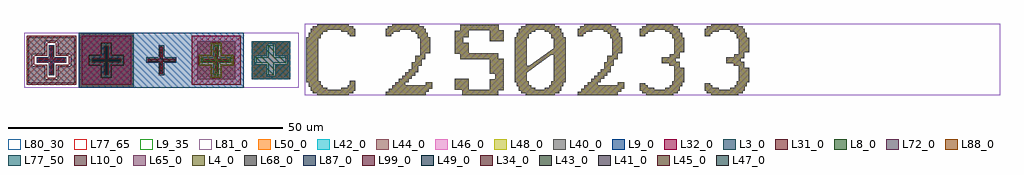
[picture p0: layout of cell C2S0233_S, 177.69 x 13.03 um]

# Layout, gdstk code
import gdstk
lib = gdstk.Library(unit=1e-6, precision=1e-09)
def R(c, l, rs):  # rectangles x0, y0, x1, y1
    for r in rs: c.add(gdstk.rectangle(r[:2], r[2:], *l))
def P(c, l, *ps):  # polygons
    for p in ps: c.add(gdstk.Polygon(p, *l))
L3_0 = (3, 0)
L4_0 = (4, 0)
L8_0 = (8, 0)
L9_0 = (9, 0)
L9_35 = (9, 35)
L10_0 = (10, 0)
L31_0 = (31, 0)
L32_0 = (32, 0)
L34_0 = (34, 0)
L40_0 = (40, 0)
L41_0 = (41, 0)
L42_0 = (42, 0)
L43_0 = (43, 0)
L44_0 = (44, 0)
L45_0 = (45, 0)
L46_0 = (46, 0)
L47_0 = (47, 0)
L48_0 = (48, 0)
L49_0 = (49, 0)
L50_0 = (50, 0)
L65_0 = (65, 0)
L68_0 = (68, 0)
L72_0 = (72, 0)
L77_50 = (77, 50)
L77_65 = (77, 65)
L80_30 = (80, 30)
L81_0 = (81, 0)
L87_0 = (87, 0)
L88_0 = (88, 0)
L99_0 = (99, 0)

pci_cross_e_pm_a1_1 = lib.new_cell('PCI_cross_E_PM_a1$1')
P(pci_cross_e_pm_a1_1, L3_0, [(-1.315,8.921),(-1.315,11.121),(-3.515,11.121),(-3.515,12.121),(-1.315,12.121),(-1.315,14.321),(-0.315,14.321),(-0.315,12.121),(1.885,12.121),(1.885,11.121),(-0.315,11.121),(-0.315,8.921)])
R(pci_cross_e_pm_a1_1, L8_0, [(-4.315,8.121,2.685,15.121)])
P(pci_cross_e_pm_a1_1, L9_0, [(-4.315,8.121),(-4.315,15.121),(2.085,15.121),(2.085,12.326),(-0.115,12.326),(-0.115,14.521),(-1.515,14.521),(-1.515,12.326),(-3.715,12.326),(-3.715,10.926),(-1.515,10.926),(-1.515,8.716),(-0.115,8.716),(-0.115,10.926),(2.085,10.926),(2.085,15.121),(2.685,15.121),(2.685,8.121)])
P(pci_cross_e_pm_a1_1, L32_0, [(-4.315,8.121),(-4.315,15.121),(2.085,15.121),(2.085,12.326),(-0.115,12.326),(-0.115,14.521),(-1.515,14.521),(-1.515,12.326),(-3.715,12.326),(-3.715,10.926),(-1.515,10.926),(-1.515,8.716),(-0.115,8.716),(-0.115,10.926),(2.085,10.926),(2.085,15.121),(2.685,15.121),(2.685,8.121)])
P(pci_cross_e_pm_a1_1, L72_0, [(-4.315,8.121),(-4.315,15.121),(2.085,15.121),(2.085,12.326),(-0.115,12.326),(-0.115,14.521),(-1.515,14.521),(-1.515,12.326),(-3.715,12.326),(-3.715,10.926),(-1.515,10.926),(-1.515,8.716),(-0.115,8.716),(-0.115,10.926),(2.085,10.926),(2.085,15.121),(2.685,15.121),(2.685,8.121)])
P(pci_cross_e_pm_a1_1, L77_50, [(-4.315,8.121),(-4.315,15.121),(2.085,15.121),(2.085,12.326),(-0.115,12.326),(-0.115,14.521),(-1.515,14.521),(-1.515,12.326),(-3.715,12.326),(-3.715,10.926),(-1.515,10.926),(-1.515,8.716),(-0.115,8.716),(-0.115,10.926),(2.085,10.926),(2.085,15.121),(2.685,15.121),(2.685,8.121)])
P(pci_cross_e_pm_a1_1, L88_0, [(-4.315,8.121),(-4.315,15.121),(2.085,15.121),(2.085,12.326),(-0.115,12.326),(-0.115,14.521),(-1.515,14.521),(-1.515,12.326),(-3.715,12.326),(-3.715,10.926),(-1.515,10.926),(-1.515,8.716),(-0.115,8.716),(-0.115,10.926),(2.085,10.926),(2.085,15.121),(2.685,15.121),(2.685,8.121)])

pci_cross_d_pm_a1_1 = lib.new_cell('PCI_cross_D_PM_a1$1')
P(pci_cross_d_pm_a1_1, L3_0, [(-1.315,8.921),(-1.315,11.121),(-3.515,11.121),(-3.515,12.121),(-1.315,12.121),(-1.315,14.321),(-0.315,14.321),(-0.315,12.121),(1.885,12.121),(1.885,11.121),(-0.315,11.121),(-0.315,8.921)])
P(pci_cross_d_pm_a1_1, L4_0, [(-1.815,8.421),(-1.815,10.621),(-4.015,10.621),(-4.015,12.621),(-1.815,12.621),(-1.815,14.821),(0.185,14.821),(0.185,12.621),(2.385,12.621),(2.385,10.621),(0.185,10.621),(0.185,8.421)])
P(pci_cross_d_pm_a1_1, L8_0, [(-1.165,8.421),(-1.165,9.121),(-0.915,9.121),(-0.915,11.521),(-3.315,11.521),(-3.315,11.271),(-4.015,11.271),(-4.015,11.971),(-3.315,11.971),(-3.315,11.721),(-0.915,11.721),(-0.915,14.121),(-1.165,14.121),(-1.165,14.821),(-0.465,14.821),(-0.465,14.121),(-0.715,14.121),(-0.715,11.721),(1.685,11.721),(1.685,11.971),(2.385,11.971),(2.385,11.271),(1.685,11.271),(1.685,11.521),(-0.715,11.521),(-0.715,9.121),(-0.465,9.121),(-0.465,8.421)])
R(pci_cross_d_pm_a1_1, L9_0, [(-5.815,6.621,4.185,16.621)])
P(pci_cross_d_pm_a1_1, L10_0, [(-4.315,8.121),(-4.315,15.121),(2.085,15.121),(2.085,12.321),(-0.115,12.321),(-0.115,14.516),(-1.515,14.516),(-1.515,12.321),(-3.715,12.321),(-3.715,10.921),(-1.515,10.921),(-1.515,8.711),(-0.115,8.711),(-0.115,10.921),(2.085,10.921),(2.085,15.121),(2.685,15.121),(2.685,8.121)])
P(pci_cross_d_pm_a1_1, L31_0, [(-1.065,9.171),(-1.065,11.371),(-3.265,11.371),(-3.265,11.871),(-1.065,11.871),(-1.065,14.071),(-0.565,14.071),(-0.565,11.871),(1.635,11.871),(1.635,11.371),(-0.565,11.371),(-0.565,9.171)])
P(pci_cross_d_pm_a1_1, L32_0, [(-5.315,7.121),(-5.315,16.121),(2.36,16.121),(2.36,12.421),(-0.015,12.421),(-0.015,14.796),(-1.615,14.796),(-1.615,12.421),(-3.99,12.421),(-3.99,10.821),(-1.615,10.821),(-1.615,8.446),(-0.015,8.446),(-0.015,10.821),(2.36,10.821),(2.36,16.121),(3.685,16.121),(3.685,7.121)],
  [(-1.065,9.171),(-1.065,11.371),(-3.265,11.371),(-3.265,11.871),(-1.065,11.871),(-1.065,14.071),(-0.565,14.071),(-0.565,11.871),(1.635,11.871),(1.635,11.371),(-0.565,11.371),(-0.565,9.171)])
P(pci_cross_d_pm_a1_1, L65_0, [(-4.315,8.121),(-4.315,15.121),(2.085,15.121),(2.085,12.321),(-0.115,12.321),(-0.115,14.516),(-1.515,14.516),(-1.515,12.321),(-3.715,12.321),(-3.715,10.921),(-1.515,10.921),(-1.515,8.711),(-0.115,8.711),(-0.115,10.921),(2.085,10.921),(2.085,15.121),(2.685,15.121),(2.685,8.121)])

pci_cross_b_novf_a2_1 = lib.new_cell('PCI_cross_B_NOVF_a2$1')
R(pci_cross_b_novf_a2_1, L9_0, [(-0.815,11.621,9.185,21.621)])
P(pci_cross_b_novf_a2_1, L32_0, [(-0.315,12.121),(-0.315,21.121),(7.385,21.121),(7.385,17.421),(4.985,17.421),(4.985,19.821),(3.385,19.821),(3.385,17.421),(0.985,17.421),(0.985,15.821),(3.385,15.821),(3.385,13.421),(4.985,13.421),(4.985,15.821),(7.385,15.821),(7.385,21.121),(8.685,21.121),(8.685,12.121)],
  [(3.935,14.171),(3.935,16.371),(1.735,16.371),(1.735,16.871),(3.935,16.871),(3.935,19.071),(4.435,19.071),(4.435,16.871),(6.635,16.871),(6.635,16.371),(4.435,16.371),(4.435,14.171)])
P(pci_cross_b_novf_a2_1, L34_0, [(4.06,14.121),(4.06,16.496),(1.685,16.496),(1.685,16.746),(4.06,16.746),(4.06,19.121),(4.31,19.121),(4.31,16.746),(6.685,16.746),(6.685,16.496),(4.31,16.496),(4.31,14.121)])
R(pci_cross_b_novf_a2_1, L40_0, [(-0.815,11.621,9.185,21.621)])
P(pci_cross_b_novf_a2_1, L41_0, [(4.06,14.121),(4.06,16.496),(1.685,16.496),(1.685,16.746),(4.06,16.746),(4.06,19.121),(4.31,19.121),(4.31,16.746),(6.685,16.746),(6.685,16.496),(4.31,16.496),(4.31,14.121)])
R(pci_cross_b_novf_a2_1, L42_0, [(-0.815,11.621,9.185,21.621)])
P(pci_cross_b_novf_a2_1, L43_0, [(4.06,14.121),(4.06,16.496),(1.685,16.496),(1.685,16.746),(4.06,16.746),(4.06,19.121),(4.31,19.121),(4.31,16.746),(6.685,16.746),(6.685,16.496),(4.31,16.496),(4.31,14.121)])
R(pci_cross_b_novf_a2_1, L44_0, [(-0.815,11.621,9.185,21.621)])
P(pci_cross_b_novf_a2_1, L45_0, [(4.06,14.121),(4.06,16.496),(1.685,16.496),(1.685,16.746),(4.06,16.746),(4.06,19.121),(4.31,19.121),(4.31,16.746),(6.685,16.746),(6.685,16.496),(4.31,16.496),(4.31,14.121)])
R(pci_cross_b_novf_a2_1, L46_0, [(-0.815,11.621,9.185,21.621)])
P(pci_cross_b_novf_a2_1, L47_0, [(4.06,14.121),(4.06,16.496),(1.685,16.496),(1.685,16.746),(4.06,16.746),(4.06,19.121),(4.31,19.121),(4.31,16.746),(6.685,16.746),(6.685,16.496),(4.31,16.496),(4.31,14.121)])
R(pci_cross_b_novf_a2_1, L48_0, [(-0.815,11.621,9.185,21.621)])
P(pci_cross_b_novf_a2_1, L49_0, [(4.005,14.066),(4.005,16.441),(1.63,16.441),(1.63,16.801),(4.005,16.801),(4.005,19.176),(4.365,19.176),(4.365,16.801),(6.74,16.801),(6.74,16.441),(4.365,16.441),(4.365,14.066)])
R(pci_cross_b_novf_a2_1, L50_0, [(-0.815,11.621,9.185,21.621)])
P(pci_cross_b_novf_a2_1, L68_0, [(3.185,13.421),(3.185,15.621),(0.985,15.621),(0.985,17.621),(3.185,17.621),(3.185,19.821),(5.185,19.821),(5.185,17.621),(7.385,17.621),(7.385,15.621),(5.185,15.621),(5.185,13.421)])
P(pci_cross_b_novf_a2_1, L72_0, [(3.735,13.971),(3.735,16.171),(1.535,16.171),(1.535,17.071),(3.735,17.071),(3.735,19.271),(4.635,19.271),(4.635,17.071),(6.835,17.071),(6.835,16.171),(4.635,16.171),(4.635,13.971)])
P(pci_cross_b_novf_a2_1, L88_0, [(3.885,13.946),(3.885,16.321),(1.51,16.321),(1.51,16.921),(3.885,16.921),(3.885,19.296),(4.485,19.296),(4.485,16.921),(6.86,16.921),(6.86,16.321),(4.485,16.321),(4.485,13.946)])

pci_cross_a_nomf_a0_1 = lib.new_cell('PCI_cross_A_NOMF_a0$1')
P(pci_cross_a_nomf_a0_1, L3_0, [(-1.315,8.921),(-1.315,11.121),(-3.515,11.121),(-3.515,12.121),(-1.315,12.121),(-1.315,14.321),(-0.315,14.321),(-0.315,12.121),(1.885,12.121),(1.885,11.121),(-0.315,11.121),(-0.315,8.921)],
  [(-5.015,7.421),(-5.015,15.821),(2.66,15.821),(2.66,12.721),(0.285,12.721),(0.285,15.096),(-1.915,15.096),(-1.915,12.721),(-4.29,12.721),(-4.29,10.521),(-1.915,10.521),(-1.915,8.146),(0.285,8.146),(0.285,10.521),(2.66,10.521),(2.66,15.821),(3.385,15.821),(3.385,7.421)])
P(pci_cross_a_nomf_a0_1, L9_0, [(-0.94,9.296),(-0.94,11.496),(-3.14,11.496),(-3.14,11.746),(-0.94,11.746),(-0.94,13.946),(-0.69,13.946),(-0.69,11.746),(1.51,11.746),(1.51,11.496),(-0.69,11.496),(-0.69,9.296)])
P(pci_cross_a_nomf_a0_1, L31_0, [(-1.065,9.171),(-1.065,11.371),(-3.265,11.371),(-3.265,11.871),(-1.065,11.871),(-1.065,14.071),(-0.565,14.071),(-0.565,11.871),(1.635,11.871),(1.635,11.371),(-0.565,11.371),(-0.565,9.171)],
  [(-5.315,7.121),(-5.315,16.121),(2.36,16.121),(2.36,12.421),(-0.015,12.421),(-0.015,14.796),(-1.615,14.796),(-1.615,12.421),(-3.99,12.421),(-3.99,10.821),(-1.615,10.821),(-1.615,8.446),(-0.015,8.446),(-0.015,10.821),(2.36,10.821),(2.36,16.121),(3.685,16.121),(3.685,7.121)])
P(pci_cross_a_nomf_a0_1, L40_0, [(-0.94,9.296),(-0.94,11.496),(-3.14,11.496),(-3.14,11.746),(-0.94,11.746),(-0.94,13.946),(-0.69,13.946),(-0.69,11.746),(1.51,11.746),(1.51,11.496),(-0.69,11.496),(-0.69,9.296)])
P(pci_cross_a_nomf_a0_1, L42_0, [(-0.955,9.281),(-0.955,11.481),(-3.155,11.481),(-3.155,11.761),(-0.955,11.761),(-0.955,13.961),(-0.675,13.961),(-0.675,11.761),(1.525,11.761),(1.525,11.481),(-0.675,11.481),(-0.675,9.281)])
P(pci_cross_a_nomf_a0_1, L44_0, [(-0.955,9.281),(-0.955,11.481),(-3.155,11.481),(-3.155,11.761),(-0.955,11.761),(-0.955,13.961),(-0.675,13.961),(-0.675,11.761),(1.525,11.761),(1.525,11.481),(-0.675,11.481),(-0.675,9.281)])
P(pci_cross_a_nomf_a0_1, L46_0, [(-0.955,9.281),(-0.955,11.481),(-3.155,11.481),(-3.155,11.761),(-0.955,11.761),(-0.955,13.961),(-0.675,13.961),(-0.675,11.761),(1.525,11.761),(1.525,11.481),(-0.675,11.481),(-0.675,9.281)])
P(pci_cross_a_nomf_a0_1, L48_0, [(-0.955,9.281),(-0.955,11.481),(-3.155,11.481),(-3.155,11.761),(-0.955,11.761),(-0.955,13.961),(-0.675,13.961),(-0.675,11.761),(1.525,11.761),(1.525,11.481),(-0.675,11.481),(-0.675,9.281)])
P(pci_cross_a_nomf_a0_1, L50_0, [(-1.035,9.201),(-1.035,11.401),(-3.235,11.401),(-3.235,11.841),(-1.035,11.841),(-1.035,14.041),(-0.595,14.041),(-0.595,11.841),(1.605,11.841),(1.605,11.401),(-0.595,11.401),(-0.595,9.201)])
P(pci_cross_a_nomf_a0_1, L72_0, [(-1.265,8.971),(-1.265,11.171),(-3.465,11.171),(-3.465,12.071),(-1.265,12.071),(-1.265,14.271),(-0.365,14.271),(-0.365,12.071),(1.835,12.071),(1.835,11.171),(-0.365,11.171),(-0.365,8.971)])

pci_cross_c_1 = lib.new_cell('PCI_cross_C$1')
P(pci_cross_c_1, L3_0, [(-1.315,8.921),(-1.315,11.121),(-3.515,11.121),(-3.515,12.121),(-1.315,12.121),(-1.315,14.321),(-0.315,14.321),(-0.315,12.121),(1.885,12.121),(1.885,11.121),(-0.315,11.121),(-0.315,8.921)])
R(pci_cross_c_1, L9_0, [(-5.815,6.621,4.185,16.621)])
P(pci_cross_c_1, L31_0, [(-1.065,9.171),(-1.065,11.371),(-3.265,11.371),(-3.265,11.871),(-1.065,11.871),(-1.065,14.071),(-0.565,14.071),(-0.565,11.871),(1.635,11.871),(1.635,11.371),(-0.565,11.371),(-0.565,9.171)])
P(pci_cross_c_1, L87_0, [(-1.115,9.121),(-1.115,11.321),(-3.315,11.321),(-3.315,11.921),(-1.115,11.921),(-1.115,14.121),(-0.515,14.121),(-0.515,11.921),(1.685,11.921),(1.685,11.321),(-0.515,11.321),(-0.515,9.121)])
P(pci_cross_c_1, L99_0, [(-1.115,9.121),(-1.115,11.321),(-3.315,11.321),(-3.315,11.921),(-1.115,11.921),(-1.115,14.121),(-0.515,14.121),(-0.515,11.921),(1.685,11.921),(1.685,11.321),(-0.515,11.321),(-0.515,9.121)])

scl18sl_pci_pm_nomf_a2 = lib.new_cell('SCL18SL_PCI_PM_NOMF_a2')
R(scl18sl_pci_pm_nomf_a2, L9_35, [(-0.815,11.621,49.185,21.621)])
R(scl18sl_pci_pm_nomf_a2, L77_65, [(-0.815,11.621,49.185,21.621)])
R(scl18sl_pci_pm_nomf_a2, L80_30, [(-0.815,11.621,49.185,21.621)])
R(scl18sl_pci_pm_nomf_a2, L81_0, [(-0.815,11.621,49.185,21.621)])
scl18sl_pci_pm_nomf_a2.add(gdstk.Reference(pci_cross_e_pm_a1_1, (45,5)))
scl18sl_pci_pm_nomf_a2.add(gdstk.Reference(pci_cross_d_pm_a1_1, (35,5)))
scl18sl_pci_pm_nomf_a2.add(gdstk.Reference(pci_cross_b_novf_a2_1, (10,0)))
scl18sl_pci_pm_nomf_a2.add(gdstk.Reference(pci_cross_a_nomf_a0_1, (5,5)))
scl18sl_pci_pm_nomf_a2.add(gdstk.Reference(pci_cross_c_1, (25,5)))

char_l0 = lib.new_cell('char_l0')
P(char_l0, L40_0, [(4.17,0),(4.17,0.4),(3.37,0.4),(3.37,0.8),(2.97,0.8),(2.97,1.6),(2.58,1.6),(2.58,2.39),(2.19,2.39),(2.19,10.56),(2.58,10.56),(2.58,11.36),(2.97,11.36),(2.97,12.15),(3.37,12.15),(3.37,12.55),(4.17,12.55),(4.17,12.95),(9.29,12.95),(9.29,10.36),(8.89,10.36),(8.89,11.16),(8.49,11.16),(8.49,11.56),(7.7,11.56),(7.7,11.95),(5.96,11.95),(5.96,11.56),(5.17,11.56),(5.17,11.16),(4.77,11.16),(4.77,10.36),(4.37,10.36),(4.37,5.34),(4.81,5.34),(9.29,8.6),(9.29,7.37),(8.855,7.37),(4.37,4.1),(4.37,2.59),(4.77,2.59),(4.77,1.79),(5.17,1.79),(5.17,1.4),(5.96,1.4),(5.96,1),(7.7,1),(7.7,1.4),(8.49,1.4),(8.49,1.79),(8.89,1.79),(8.89,2.59),(9.29,2.59),(9.29,12.95),(9.49,12.95),(9.49,12.55),(10.29,12.55),(10.29,12.15),(10.69,12.15),(10.69,11.36),(11.08,11.36),(11.08,10.56),(11.48,10.56),(11.48,2.39),(11.08,2.39),(11.08,1.6),(10.69,1.6),(10.69,0.8),(10.29,0.8),(10.29,0.4),(9.49,0.4),(9.49,0)])
P(char_l0, L42_0, [(4.17,0),(4.17,0.4),(3.37,0.4),(3.37,0.8),(2.97,0.8),(2.97,1.6),(2.58,1.6),(2.58,2.39),(2.19,2.39),(2.19,10.56),(2.58,10.56),(2.58,11.36),(2.97,11.36),(2.97,12.15),(3.37,12.15),(3.37,12.55),(4.17,12.55),(4.17,12.95),(9.29,12.95),(9.29,10.36),(8.89,10.36),(8.89,11.16),(8.49,11.16),(8.49,11.56),(7.7,11.56),(7.7,11.95),(5.96,11.95),(5.96,11.56),(5.17,11.56),(5.17,11.16),(4.77,11.16),(4.77,10.36),(4.37,10.36),(4.37,5.34),(4.81,5.34),(9.29,8.6),(9.29,7.37),(8.855,7.37),(4.37,4.1),(4.37,2.59),(4.77,2.59),(4.77,1.79),(5.17,1.79),(5.17,1.4),(5.96,1.4),(5.96,1),(7.7,1),(7.7,1.4),(8.49,1.4),(8.49,1.79),(8.89,1.79),(8.89,2.59),(9.29,2.59),(9.29,12.95),(9.49,12.95),(9.49,12.55),(10.29,12.55),(10.29,12.15),(10.69,12.15),(10.69,11.36),(11.08,11.36),(11.08,10.56),(11.48,10.56),(11.48,2.39),(11.08,2.39),(11.08,1.6),(10.69,1.6),(10.69,0.8),(10.29,0.8),(10.29,0.4),(9.49,0.4),(9.49,0)])
P(char_l0, L44_0, [(4.17,0),(4.17,0.4),(3.37,0.4),(3.37,0.8),(2.97,0.8),(2.97,1.6),(2.58,1.6),(2.58,2.39),(2.19,2.39),(2.19,10.56),(2.58,10.56),(2.58,11.36),(2.97,11.36),(2.97,12.15),(3.37,12.15),(3.37,12.55),(4.17,12.55),(4.17,12.95),(9.29,12.95),(9.29,10.36),(8.89,10.36),(8.89,11.16),(8.49,11.16),(8.49,11.56),(7.7,11.56),(7.7,11.95),(5.96,11.95),(5.96,11.56),(5.17,11.56),(5.17,11.16),(4.77,11.16),(4.77,10.36),(4.37,10.36),(4.37,5.34),(4.81,5.34),(9.29,8.6),(9.29,7.37),(8.855,7.37),(4.37,4.1),(4.37,2.59),(4.77,2.59),(4.77,1.79),(5.17,1.79),(5.17,1.4),(5.96,1.4),(5.96,1),(7.7,1),(7.7,1.4),(8.49,1.4),(8.49,1.79),(8.89,1.79),(8.89,2.59),(9.29,2.59),(9.29,12.95),(9.49,12.95),(9.49,12.55),(10.29,12.55),(10.29,12.15),(10.69,12.15),(10.69,11.36),(11.08,11.36),(11.08,10.56),(11.48,10.56),(11.48,2.39),(11.08,2.39),(11.08,1.6),(10.69,1.6),(10.69,0.8),(10.29,0.8),(10.29,0.4),(9.49,0.4),(9.49,0)])
P(char_l0, L46_0, [(4.17,0),(4.17,0.4),(3.37,0.4),(3.37,0.8),(2.97,0.8),(2.97,1.6),(2.58,1.6),(2.58,2.39),(2.19,2.39),(2.19,10.56),(2.58,10.56),(2.58,11.36),(2.97,11.36),(2.97,12.15),(3.37,12.15),(3.37,12.55),(4.17,12.55),(4.17,12.95),(9.29,12.95),(9.29,10.36),(8.89,10.36),(8.89,11.16),(8.49,11.16),(8.49,11.56),(7.7,11.56),(7.7,11.95),(5.96,11.95),(5.96,11.56),(5.17,11.56),(5.17,11.16),(4.77,11.16),(4.77,10.36),(4.37,10.36),(4.37,5.34),(4.81,5.34),(9.29,8.6),(9.29,7.37),(8.855,7.37),(4.37,4.1),(4.37,2.59),(4.77,2.59),(4.77,1.79),(5.17,1.79),(5.17,1.4),(5.96,1.4),(5.96,1),(7.7,1),(7.7,1.4),(8.49,1.4),(8.49,1.79),(8.89,1.79),(8.89,2.59),(9.29,2.59),(9.29,12.95),(9.49,12.95),(9.49,12.55),(10.29,12.55),(10.29,12.15),(10.69,12.15),(10.69,11.36),(11.08,11.36),(11.08,10.56),(11.48,10.56),(11.48,2.39),(11.08,2.39),(11.08,1.6),(10.69,1.6),(10.69,0.8),(10.29,0.8),(10.29,0.4),(9.49,0.4),(9.49,0)])
P(char_l0, L48_0, [(4.17,0),(4.17,0.4),(3.37,0.4),(3.37,0.8),(2.97,0.8),(2.97,1.6),(2.58,1.6),(2.58,2.39),(2.19,2.39),(2.19,10.56),(2.58,10.56),(2.58,11.36),(2.97,11.36),(2.97,12.15),(3.37,12.15),(3.37,12.55),(4.17,12.55),(4.17,12.95),(9.29,12.95),(9.29,10.36),(8.89,10.36),(8.89,11.16),(8.49,11.16),(8.49,11.56),(7.7,11.56),(7.7,11.95),(5.96,11.95),(5.96,11.56),(5.17,11.56),(5.17,11.16),(4.77,11.16),(4.77,10.36),(4.37,10.36),(4.37,5.34),(4.81,5.34),(9.29,8.6),(9.29,7.37),(8.855,7.37),(4.37,4.1),(4.37,2.59),(4.77,2.59),(4.77,1.79),(5.17,1.79),(5.17,1.4),(5.96,1.4),(5.96,1),(7.7,1),(7.7,1.4),(8.49,1.4),(8.49,1.79),(8.89,1.79),(8.89,2.59),(9.29,2.59),(9.29,12.95),(9.49,12.95),(9.49,12.55),(10.29,12.55),(10.29,12.15),(10.69,12.15),(10.69,11.36),(11.08,11.36),(11.08,10.56),(11.48,10.56),(11.48,2.39),(11.08,2.39),(11.08,1.6),(10.69,1.6),(10.69,0.8),(10.29,0.8),(10.29,0.4),(9.49,0.4),(9.49,0)])
P(char_l0, L50_0, [(4.17,0),(4.17,0.4),(3.37,0.4),(3.37,0.8),(2.97,0.8),(2.97,1.6),(2.58,1.6),(2.58,2.39),(2.19,2.39),(2.19,10.56),(2.58,10.56),(2.58,11.36),(2.97,11.36),(2.97,12.15),(3.37,12.15),(3.37,12.55),(4.17,12.55),(4.17,12.95),(9.29,12.95),(9.29,10.36),(8.89,10.36),(8.89,11.16),(8.49,11.16),(8.49,11.56),(7.7,11.56),(7.7,11.95),(5.96,11.95),(5.96,11.56),(5.17,11.56),(5.17,11.16),(4.77,11.16),(4.77,10.36),(4.37,10.36),(4.37,5.34),(4.81,5.34),(9.29,8.6),(9.29,7.37),(8.855,7.37),(4.37,4.1),(4.37,2.59),(4.77,2.59),(4.77,1.79),(5.17,1.79),(5.17,1.4),(5.96,1.4),(5.96,1),(7.7,1),(7.7,1.4),(8.49,1.4),(8.49,1.79),(8.89,1.79),(8.89,2.59),(9.29,2.59),(9.29,12.95),(9.49,12.95),(9.49,12.55),(10.29,12.55),(10.29,12.15),(10.69,12.15),(10.69,11.36),(11.08,11.36),(11.08,10.56),(11.48,10.56),(11.48,2.39),(11.08,2.39),(11.08,1.6),(10.69,1.6),(10.69,0.8),(10.29,0.8),(10.29,0.4),(9.49,0.4),(9.49,0)])

char_ls = lib.new_cell('char_lS')
P(char_ls, L40_0, [(3.72,0),(3.72,1),(2.41,1),(2.41,3.05),(4.92,3.05),(4.92,1),(8.78,1),(8.78,2.95),(9.78,2.95),(9.78,3.95),(8.78,3.95),(8.78,6.6),(3.38,6.6),(3.38,7.54),(2.38,7.54),(2.38,11.79),(3.38,11.79),(3.38,12.84),(10.39,12.84),(10.39,11.84),(11.29,11.84),(11.29,9.8),(8.78,9.8),(8.78,11.84),(4.89,11.84),(4.89,10.53),(3.89,10.53),(3.89,9.54),(4.89,9.54),(4.89,7.67),(10.29,7.67),(10.29,6.67),(11.29,6.67),(11.29,0.96),(10.29,0.96),(10.29,0)])
P(char_ls, L42_0, [(3.72,0),(3.72,1),(2.41,1),(2.41,3.05),(4.92,3.05),(4.92,1),(8.78,1),(8.78,2.95),(9.78,2.95),(9.78,3.95),(8.78,3.95),(8.78,6.6),(3.38,6.6),(3.38,7.54),(2.38,7.54),(2.38,11.79),(3.38,11.79),(3.38,12.84),(10.39,12.84),(10.39,11.84),(11.29,11.84),(11.29,9.8),(8.78,9.8),(8.78,11.84),(4.89,11.84),(4.89,10.53),(3.89,10.53),(3.89,9.54),(4.89,9.54),(4.89,7.67),(10.29,7.67),(10.29,6.67),(11.29,6.67),(11.29,0.96),(10.29,0.96),(10.29,0)])
P(char_ls, L44_0, [(3.72,0),(3.72,1),(2.41,1),(2.41,3.05),(4.92,3.05),(4.92,1),(8.78,1),(8.78,2.95),(9.78,2.95),(9.78,3.95),(8.78,3.95),(8.78,6.6),(3.38,6.6),(3.38,7.54),(2.38,7.54),(2.38,11.79),(3.38,11.79),(3.38,12.84),(10.39,12.84),(10.39,11.84),(11.29,11.84),(11.29,9.8),(8.78,9.8),(8.78,11.84),(4.89,11.84),(4.89,10.53),(3.89,10.53),(3.89,9.54),(4.89,9.54),(4.89,7.67),(10.29,7.67),(10.29,6.67),(11.29,6.67),(11.29,0.96),(10.29,0.96),(10.29,0)])
P(char_ls, L46_0, [(3.72,0),(3.72,1),(2.41,1),(2.41,3.05),(4.92,3.05),(4.92,1),(8.78,1),(8.78,2.95),(9.78,2.95),(9.78,3.95),(8.78,3.95),(8.78,6.6),(3.38,6.6),(3.38,7.54),(2.38,7.54),(2.38,11.79),(3.38,11.79),(3.38,12.84),(10.39,12.84),(10.39,11.84),(11.29,11.84),(11.29,9.8),(8.78,9.8),(8.78,11.84),(4.89,11.84),(4.89,10.53),(3.89,10.53),(3.89,9.54),(4.89,9.54),(4.89,7.67),(10.29,7.67),(10.29,6.67),(11.29,6.67),(11.29,0.96),(10.29,0.96),(10.29,0)])
P(char_ls, L48_0, [(3.72,0),(3.72,1),(2.41,1),(2.41,3.05),(4.92,3.05),(4.92,1),(8.78,1),(8.78,2.95),(9.78,2.95),(9.78,3.95),(8.78,3.95),(8.78,6.6),(3.38,6.6),(3.38,7.54),(2.38,7.54),(2.38,11.79),(3.38,11.79),(3.38,12.84),(10.39,12.84),(10.39,11.84),(11.29,11.84),(11.29,9.8),(8.78,9.8),(8.78,11.84),(4.89,11.84),(4.89,10.53),(3.89,10.53),(3.89,9.54),(4.89,9.54),(4.89,7.67),(10.29,7.67),(10.29,6.67),(11.29,6.67),(11.29,0.96),(10.29,0.96),(10.29,0)])
P(char_ls, L50_0, [(3.72,0),(3.72,1),(2.41,1),(2.41,3.05),(4.92,3.05),(4.92,1),(8.78,1),(8.78,2.95),(9.78,2.95),(9.78,3.95),(8.78,3.95),(8.78,6.6),(3.38,6.6),(3.38,7.54),(2.38,7.54),(2.38,11.79),(3.38,11.79),(3.38,12.84),(10.39,12.84),(10.39,11.84),(11.29,11.84),(11.29,9.8),(8.78,9.8),(8.78,11.84),(4.89,11.84),(4.89,10.53),(3.89,10.53),(3.89,9.54),(4.89,9.54),(4.89,7.67),(10.29,7.67),(10.29,6.67),(11.29,6.67),(11.29,0.96),(10.29,0.96),(10.29,0)])

char_lc = lib.new_cell('char_lC')
P(char_lc, L40_0, [(4.36,0),(4.36,0.4),(3.56,0.4),(3.56,0.8),(3.16,0.8),(3.16,1.59),(2.76,1.59),(2.76,2.39),(2.37,2.39),(2.37,10.56),(2.76,10.56),(2.76,11.35),(3.16,11.35),(3.16,12.15),(3.56,12.15),(3.56,12.55),(4.36,12.55),(4.36,12.95),(10.1,12.95),(10.1,12.55),(10.9,12.55),(10.9,12.15),(11.3,12.15),(11.3,10.76),(10.3,10.76),(10.3,11.15),(9.9,11.15),(9.9,11.55),(8.71,11.55),(8.71,11.95),(6.15,11.95),(6.15,11.55),(5.35,11.55),(5.35,11.15),(4.96,11.15),(4.96,10.36),(4.56,10.36),(4.56,2.59),(4.96,2.59),(4.96,1.79),(5.35,1.79),(5.35,1.39),(6.15,1.39),(6.15,1),(8.71,1),(8.71,1.39),(9.9,1.39),(9.9,1.79),(10.3,1.79),(10.3,2.68),(11.3,2.68),(11.3,0.8),(10.9,0.8),(10.9,0.4),(10.1,0.4),(10.1,0)])
P(char_lc, L42_0, [(4.36,0),(4.36,0.4),(3.56,0.4),(3.56,0.8),(3.16,0.8),(3.16,1.59),(2.76,1.59),(2.76,2.39),(2.37,2.39),(2.37,10.56),(2.76,10.56),(2.76,11.35),(3.16,11.35),(3.16,12.15),(3.56,12.15),(3.56,12.55),(4.36,12.55),(4.36,12.95),(10.1,12.95),(10.1,12.55),(10.9,12.55),(10.9,12.15),(11.3,12.15),(11.3,10.76),(10.3,10.76),(10.3,11.15),(9.9,11.15),(9.9,11.55),(8.71,11.55),(8.71,11.95),(6.15,11.95),(6.15,11.55),(5.35,11.55),(5.35,11.15),(4.96,11.15),(4.96,10.36),(4.56,10.36),(4.56,2.59),(4.96,2.59),(4.96,1.79),(5.35,1.79),(5.35,1.39),(6.15,1.39),(6.15,1),(8.71,1),(8.71,1.39),(9.9,1.39),(9.9,1.79),(10.3,1.79),(10.3,2.68),(11.3,2.68),(11.3,0.8),(10.9,0.8),(10.9,0.4),(10.1,0.4),(10.1,0)])
P(char_lc, L44_0, [(4.36,0),(4.36,0.4),(3.56,0.4),(3.56,0.8),(3.16,0.8),(3.16,1.59),(2.76,1.59),(2.76,2.39),(2.37,2.39),(2.37,10.56),(2.76,10.56),(2.76,11.35),(3.16,11.35),(3.16,12.15),(3.56,12.15),(3.56,12.55),(4.36,12.55),(4.36,12.95),(10.1,12.95),(10.1,12.55),(10.9,12.55),(10.9,12.15),(11.3,12.15),(11.3,10.76),(10.3,10.76),(10.3,11.15),(9.9,11.15),(9.9,11.55),(8.71,11.55),(8.71,11.95),(6.15,11.95),(6.15,11.55),(5.35,11.55),(5.35,11.15),(4.96,11.15),(4.96,10.36),(4.56,10.36),(4.56,2.59),(4.96,2.59),(4.96,1.79),(5.35,1.79),(5.35,1.39),(6.15,1.39),(6.15,1),(8.71,1),(8.71,1.39),(9.9,1.39),(9.9,1.79),(10.3,1.79),(10.3,2.68),(11.3,2.68),(11.3,0.8),(10.9,0.8),(10.9,0.4),(10.1,0.4),(10.1,0)])
P(char_lc, L46_0, [(4.36,0),(4.36,0.4),(3.56,0.4),(3.56,0.8),(3.16,0.8),(3.16,1.59),(2.76,1.59),(2.76,2.39),(2.37,2.39),(2.37,10.56),(2.76,10.56),(2.76,11.35),(3.16,11.35),(3.16,12.15),(3.56,12.15),(3.56,12.55),(4.36,12.55),(4.36,12.95),(10.1,12.95),(10.1,12.55),(10.9,12.55),(10.9,12.15),(11.3,12.15),(11.3,10.76),(10.3,10.76),(10.3,11.15),(9.9,11.15),(9.9,11.55),(8.71,11.55),(8.71,11.95),(6.15,11.95),(6.15,11.55),(5.35,11.55),(5.35,11.15),(4.96,11.15),(4.96,10.36),(4.56,10.36),(4.56,2.59),(4.96,2.59),(4.96,1.79),(5.35,1.79),(5.35,1.39),(6.15,1.39),(6.15,1),(8.71,1),(8.71,1.39),(9.9,1.39),(9.9,1.79),(10.3,1.79),(10.3,2.68),(11.3,2.68),(11.3,0.8),(10.9,0.8),(10.9,0.4),(10.1,0.4),(10.1,0)])
P(char_lc, L48_0, [(4.36,0),(4.36,0.4),(3.56,0.4),(3.56,0.8),(3.16,0.8),(3.16,1.59),(2.76,1.59),(2.76,2.39),(2.37,2.39),(2.37,10.56),(2.76,10.56),(2.76,11.35),(3.16,11.35),(3.16,12.15),(3.56,12.15),(3.56,12.55),(4.36,12.55),(4.36,12.95),(10.1,12.95),(10.1,12.55),(10.9,12.55),(10.9,12.15),(11.3,12.15),(11.3,10.76),(10.3,10.76),(10.3,11.15),(9.9,11.15),(9.9,11.55),(8.71,11.55),(8.71,11.95),(6.15,11.95),(6.15,11.55),(5.35,11.55),(5.35,11.15),(4.96,11.15),(4.96,10.36),(4.56,10.36),(4.56,2.59),(4.96,2.59),(4.96,1.79),(5.35,1.79),(5.35,1.39),(6.15,1.39),(6.15,1),(8.71,1),(8.71,1.39),(9.9,1.39),(9.9,1.79),(10.3,1.79),(10.3,2.68),(11.3,2.68),(11.3,0.8),(10.9,0.8),(10.9,0.4),(10.1,0.4),(10.1,0)])
P(char_lc, L50_0, [(4.36,0),(4.36,0.4),(3.56,0.4),(3.56,0.8),(3.16,0.8),(3.16,1.59),(2.76,1.59),(2.76,2.39),(2.37,2.39),(2.37,10.56),(2.76,10.56),(2.76,11.35),(3.16,11.35),(3.16,12.15),(3.56,12.15),(3.56,12.55),(4.36,12.55),(4.36,12.95),(10.1,12.95),(10.1,12.55),(10.9,12.55),(10.9,12.15),(11.3,12.15),(11.3,10.76),(10.3,10.76),(10.3,11.15),(9.9,11.15),(9.9,11.55),(8.71,11.55),(8.71,11.95),(6.15,11.95),(6.15,11.55),(5.35,11.55),(5.35,11.15),(4.96,11.15),(4.96,10.36),(4.56,10.36),(4.56,2.59),(4.96,2.59),(4.96,1.79),(5.35,1.79),(5.35,1.39),(6.15,1.39),(6.15,1),(8.71,1),(8.71,1.39),(9.9,1.39),(9.9,1.79),(10.3,1.79),(10.3,2.68),(11.3,2.68),(11.3,0.8),(10.9,0.8),(10.9,0.4),(10.1,0.4),(10.1,0)])

char_l3 = lib.new_cell('char_l3')
P(char_l3, L40_0, [(3.99,0),(3.99,0.4),(3.19,0.4),(3.19,0.8),(2.79,0.8),(2.79,2.19),(3.79,2.19),(3.79,1.79),(4.19,1.79),(4.19,1.4),(5.38,1.4),(5.38,1),(7.45,1),(7.45,1.4),(8.24,1.4),(8.24,1.79),(8.64,1.79),(8.64,2.59),(9.04,2.59),(9.04,5.39),(8.13,5.39),(8.13,5.84),(6.73,5.84),(6.73,6.97),(8.18,6.97),(8.18,7.44),(9.04,7.44),(9.04,10.36),(8.64,10.36),(8.64,11.16),(8.24,11.16),(8.24,11.56),(7.45,11.56),(7.45,11.95),(5.38,11.95),(5.38,11.56),(4.19,11.56),(4.19,11.16),(3.79,11.16),(3.79,10.76),(2.79,10.76),(2.79,12.15),(3.19,12.15),(3.19,12.55),(3.99,12.55),(3.99,12.95),(8.89,12.95),(8.89,12.55),(9.69,12.55),(9.69,12.15),(10.09,12.15),(10.09,11.36),(10.49,11.36),(10.49,10.47),(10.88,10.47),(10.88,7.83),(10.02,7.83),(10.02,6.77),(9.36,6.77),(9.36,6.06),(10.02,6.06),(10.02,5),(10.88,5),(10.88,2.39),(10.49,2.39),(10.49,1.6),(10.09,1.6),(10.09,0.8),(9.69,0.8),(9.69,0.4),(8.89,0.4),(8.89,0)])
P(char_l3, L42_0, [(3.99,0),(3.99,0.4),(3.19,0.4),(3.19,0.8),(2.79,0.8),(2.79,2.19),(3.79,2.19),(3.79,1.79),(4.19,1.79),(4.19,1.4),(5.38,1.4),(5.38,1),(7.45,1),(7.45,1.4),(8.24,1.4),(8.24,1.79),(8.64,1.79),(8.64,2.59),(9.04,2.59),(9.04,5.39),(8.13,5.39),(8.13,5.84),(6.73,5.84),(6.73,6.97),(8.18,6.97),(8.18,7.44),(9.04,7.44),(9.04,10.36),(8.64,10.36),(8.64,11.16),(8.24,11.16),(8.24,11.56),(7.45,11.56),(7.45,11.95),(5.38,11.95),(5.38,11.56),(4.19,11.56),(4.19,11.16),(3.79,11.16),(3.79,10.76),(2.79,10.76),(2.79,12.15),(3.19,12.15),(3.19,12.55),(3.99,12.55),(3.99,12.95),(8.89,12.95),(8.89,12.55),(9.69,12.55),(9.69,12.15),(10.09,12.15),(10.09,11.36),(10.49,11.36),(10.49,10.47),(10.88,10.47),(10.88,7.83),(10.02,7.83),(10.02,6.77),(9.36,6.77),(9.36,6.06),(10.02,6.06),(10.02,5),(10.88,5),(10.88,2.39),(10.49,2.39),(10.49,1.6),(10.09,1.6),(10.09,0.8),(9.69,0.8),(9.69,0.4),(8.89,0.4),(8.89,0)])
P(char_l3, L44_0, [(3.99,0),(3.99,0.4),(3.19,0.4),(3.19,0.8),(2.79,0.8),(2.79,2.19),(3.79,2.19),(3.79,1.79),(4.19,1.79),(4.19,1.4),(5.38,1.4),(5.38,1),(7.45,1),(7.45,1.4),(8.24,1.4),(8.24,1.79),(8.64,1.79),(8.64,2.59),(9.04,2.59),(9.04,5.39),(8.13,5.39),(8.13,5.84),(6.73,5.84),(6.73,6.97),(8.18,6.97),(8.18,7.44),(9.04,7.44),(9.04,10.36),(8.64,10.36),(8.64,11.16),(8.24,11.16),(8.24,11.56),(7.45,11.56),(7.45,11.95),(5.38,11.95),(5.38,11.56),(4.19,11.56),(4.19,11.16),(3.79,11.16),(3.79,10.76),(2.79,10.76),(2.79,12.15),(3.19,12.15),(3.19,12.55),(3.99,12.55),(3.99,12.95),(8.89,12.95),(8.89,12.55),(9.69,12.55),(9.69,12.15),(10.09,12.15),(10.09,11.36),(10.49,11.36),(10.49,10.47),(10.88,10.47),(10.88,7.83),(10.02,7.83),(10.02,6.77),(9.36,6.77),(9.36,6.06),(10.02,6.06),(10.02,5),(10.88,5),(10.88,2.39),(10.49,2.39),(10.49,1.6),(10.09,1.6),(10.09,0.8),(9.69,0.8),(9.69,0.4),(8.89,0.4),(8.89,0)])
P(char_l3, L46_0, [(3.99,0),(3.99,0.4),(3.19,0.4),(3.19,0.8),(2.79,0.8),(2.79,2.19),(3.79,2.19),(3.79,1.79),(4.19,1.79),(4.19,1.4),(5.38,1.4),(5.38,1),(7.45,1),(7.45,1.4),(8.24,1.4),(8.24,1.79),(8.64,1.79),(8.64,2.59),(9.04,2.59),(9.04,5.39),(8.13,5.39),(8.13,5.84),(6.73,5.84),(6.73,6.97),(8.18,6.97),(8.18,7.44),(9.04,7.44),(9.04,10.36),(8.64,10.36),(8.64,11.16),(8.24,11.16),(8.24,11.56),(7.45,11.56),(7.45,11.95),(5.38,11.95),(5.38,11.56),(4.19,11.56),(4.19,11.16),(3.79,11.16),(3.79,10.76),(2.79,10.76),(2.79,12.15),(3.19,12.15),(3.19,12.55),(3.99,12.55),(3.99,12.95),(8.89,12.95),(8.89,12.55),(9.69,12.55),(9.69,12.15),(10.09,12.15),(10.09,11.36),(10.49,11.36),(10.49,10.47),(10.88,10.47),(10.88,7.83),(10.02,7.83),(10.02,6.77),(9.36,6.77),(9.36,6.06),(10.02,6.06),(10.02,5),(10.88,5),(10.88,2.39),(10.49,2.39),(10.49,1.6),(10.09,1.6),(10.09,0.8),(9.69,0.8),(9.69,0.4),(8.89,0.4),(8.89,0)])
P(char_l3, L48_0, [(3.99,0),(3.99,0.4),(3.19,0.4),(3.19,0.8),(2.79,0.8),(2.79,2.19),(3.79,2.19),(3.79,1.79),(4.19,1.79),(4.19,1.4),(5.38,1.4),(5.38,1),(7.45,1),(7.45,1.4),(8.24,1.4),(8.24,1.79),(8.64,1.79),(8.64,2.59),(9.04,2.59),(9.04,5.39),(8.13,5.39),(8.13,5.84),(6.73,5.84),(6.73,6.97),(8.18,6.97),(8.18,7.44),(9.04,7.44),(9.04,10.36),(8.64,10.36),(8.64,11.16),(8.24,11.16),(8.24,11.56),(7.45,11.56),(7.45,11.95),(5.38,11.95),(5.38,11.56),(4.19,11.56),(4.19,11.16),(3.79,11.16),(3.79,10.76),(2.79,10.76),(2.79,12.15),(3.19,12.15),(3.19,12.55),(3.99,12.55),(3.99,12.95),(8.89,12.95),(8.89,12.55),(9.69,12.55),(9.69,12.15),(10.09,12.15),(10.09,11.36),(10.49,11.36),(10.49,10.47),(10.88,10.47),(10.88,7.83),(10.02,7.83),(10.02,6.77),(9.36,6.77),(9.36,6.06),(10.02,6.06),(10.02,5),(10.88,5),(10.88,2.39),(10.49,2.39),(10.49,1.6),(10.09,1.6),(10.09,0.8),(9.69,0.8),(9.69,0.4),(8.89,0.4),(8.89,0)])
P(char_l3, L50_0, [(3.99,0),(3.99,0.4),(3.19,0.4),(3.19,0.8),(2.79,0.8),(2.79,2.19),(3.79,2.19),(3.79,1.79),(4.19,1.79),(4.19,1.4),(5.38,1.4),(5.38,1),(7.45,1),(7.45,1.4),(8.24,1.4),(8.24,1.79),(8.64,1.79),(8.64,2.59),(9.04,2.59),(9.04,5.39),(8.13,5.39),(8.13,5.84),(6.73,5.84),(6.73,6.97),(8.18,6.97),(8.18,7.44),(9.04,7.44),(9.04,10.36),(8.64,10.36),(8.64,11.16),(8.24,11.16),(8.24,11.56),(7.45,11.56),(7.45,11.95),(5.38,11.95),(5.38,11.56),(4.19,11.56),(4.19,11.16),(3.79,11.16),(3.79,10.76),(2.79,10.76),(2.79,12.15),(3.19,12.15),(3.19,12.55),(3.99,12.55),(3.99,12.95),(8.89,12.95),(8.89,12.55),(9.69,12.55),(9.69,12.15),(10.09,12.15),(10.09,11.36),(10.49,11.36),(10.49,10.47),(10.88,10.47),(10.88,7.83),(10.02,7.83),(10.02,6.77),(9.36,6.77),(9.36,6.06),(10.02,6.06),(10.02,5),(10.88,5),(10.88,2.39),(10.49,2.39),(10.49,1.6),(10.09,1.6),(10.09,0.8),(9.69,0.8),(9.69,0.4),(8.89,0.4),(8.89,0)])

char_l2 = lib.new_cell('char_l2')
P(char_l2, L40_0, [(2.605,0),(2.605,0.6),(3.205,0.6),(3.205,1.2),(3.795,1.2),(3.795,1.79),(4.395,1.79),(4.395,2.39),(4.995,2.39),(4.995,2.99),(5.595,2.99),(5.595,3.59),(6.185,3.59),(6.185,4.19),(6.785,4.19),(6.785,4.78),(7.385,4.78),(7.385,5.98),(7.985,5.98),(7.985,7.24),(8.865,7.24),(8.865,10.36),(8.465,10.36),(8.465,11.16),(8.065,11.16),(8.065,11.56),(7.265,11.56),(7.265,11.95),(5.195,11.95),(5.195,11.56),(3.995,11.56),(3.995,11.16),(3.595,11.16),(3.595,10.76),(2.605,10.76),(2.605,12.15),(3.005,12.15),(3.005,12.55),(3.795,12.55),(3.795,12.95),(8.715,12.95),(8.715,12.55),(9.505,12.55),(9.505,12.15),(9.905,12.15),(9.905,11.36),(10.305,11.36),(10.305,10.56),(10.705,10.56),(10.705,7.63),(9.835,7.63),(9.835,6.58),(9.175,6.58),(9.175,5.38),(8.575,5.38),(8.575,4.19),(7.985,4.19),(7.985,3.59),(7.385,3.59),(7.385,2.99),(6.785,2.99),(6.785,2.39),(6.185,2.39),(6.185,1.79),(9.875,1.79),(9.875,2.39),(11.065,2.39),(11.065,1.2),(10.475,1.2),(10.475,0.6),(9.875,0.6),(9.875,0)])
P(char_l2, L42_0, [(2.605,0),(2.605,0.6),(3.205,0.6),(3.205,1.2),(3.795,1.2),(3.795,1.79),(4.395,1.79),(4.395,2.39),(4.995,2.39),(4.995,2.99),(5.595,2.99),(5.595,3.59),(6.185,3.59),(6.185,4.19),(6.785,4.19),(6.785,4.78),(7.385,4.78),(7.385,5.98),(7.985,5.98),(7.985,7.24),(8.865,7.24),(8.865,10.36),(8.465,10.36),(8.465,11.16),(8.065,11.16),(8.065,11.56),(7.265,11.56),(7.265,11.95),(5.195,11.95),(5.195,11.56),(3.995,11.56),(3.995,11.16),(3.595,11.16),(3.595,10.76),(2.605,10.76),(2.605,12.15),(3.005,12.15),(3.005,12.55),(3.795,12.55),(3.795,12.95),(8.715,12.95),(8.715,12.55),(9.505,12.55),(9.505,12.15),(9.905,12.15),(9.905,11.36),(10.305,11.36),(10.305,10.56),(10.705,10.56),(10.705,7.63),(9.835,7.63),(9.835,6.58),(9.175,6.58),(9.175,5.38),(8.575,5.38),(8.575,4.19),(7.985,4.19),(7.985,3.59),(7.385,3.59),(7.385,2.99),(6.785,2.99),(6.785,2.39),(6.185,2.39),(6.185,1.79),(9.875,1.79),(9.875,2.39),(11.065,2.39),(11.065,1.2),(10.475,1.2),(10.475,0.6),(9.875,0.6),(9.875,0)])
P(char_l2, L44_0, [(2.605,0),(2.605,0.6),(3.205,0.6),(3.205,1.2),(3.795,1.2),(3.795,1.79),(4.395,1.79),(4.395,2.39),(4.995,2.39),(4.995,2.99),(5.595,2.99),(5.595,3.59),(6.185,3.59),(6.185,4.19),(6.785,4.19),(6.785,4.78),(7.385,4.78),(7.385,5.98),(7.985,5.98),(7.985,7.24),(8.865,7.24),(8.865,10.36),(8.465,10.36),(8.465,11.16),(8.065,11.16),(8.065,11.56),(7.265,11.56),(7.265,11.95),(5.195,11.95),(5.195,11.56),(3.995,11.56),(3.995,11.16),(3.595,11.16),(3.595,10.76),(2.605,10.76),(2.605,12.15),(3.005,12.15),(3.005,12.55),(3.795,12.55),(3.795,12.95),(8.715,12.95),(8.715,12.55),(9.505,12.55),(9.505,12.15),(9.905,12.15),(9.905,11.36),(10.305,11.36),(10.305,10.56),(10.705,10.56),(10.705,7.63),(9.835,7.63),(9.835,6.58),(9.175,6.58),(9.175,5.38),(8.575,5.38),(8.575,4.19),(7.985,4.19),(7.985,3.59),(7.385,3.59),(7.385,2.99),(6.785,2.99),(6.785,2.39),(6.185,2.39),(6.185,1.79),(9.875,1.79),(9.875,2.39),(11.065,2.39),(11.065,1.2),(10.475,1.2),(10.475,0.6),(9.875,0.6),(9.875,0)])
P(char_l2, L46_0, [(2.605,0),(2.605,0.6),(3.205,0.6),(3.205,1.2),(3.795,1.2),(3.795,1.79),(4.395,1.79),(4.395,2.39),(4.995,2.39),(4.995,2.99),(5.595,2.99),(5.595,3.59),(6.185,3.59),(6.185,4.19),(6.785,4.19),(6.785,4.78),(7.385,4.78),(7.385,5.98),(7.985,5.98),(7.985,7.24),(8.865,7.24),(8.865,10.36),(8.465,10.36),(8.465,11.16),(8.065,11.16),(8.065,11.56),(7.265,11.56),(7.265,11.95),(5.195,11.95),(5.195,11.56),(3.995,11.56),(3.995,11.16),(3.595,11.16),(3.595,10.76),(2.605,10.76),(2.605,12.15),(3.005,12.15),(3.005,12.55),(3.795,12.55),(3.795,12.95),(8.715,12.95),(8.715,12.55),(9.505,12.55),(9.505,12.15),(9.905,12.15),(9.905,11.36),(10.305,11.36),(10.305,10.56),(10.705,10.56),(10.705,7.63),(9.835,7.63),(9.835,6.58),(9.175,6.58),(9.175,5.38),(8.575,5.38),(8.575,4.19),(7.985,4.19),(7.985,3.59),(7.385,3.59),(7.385,2.99),(6.785,2.99),(6.785,2.39),(6.185,2.39),(6.185,1.79),(9.875,1.79),(9.875,2.39),(11.065,2.39),(11.065,1.2),(10.475,1.2),(10.475,0.6),(9.875,0.6),(9.875,0)])
P(char_l2, L48_0, [(2.605,0),(2.605,0.6),(3.205,0.6),(3.205,1.2),(3.795,1.2),(3.795,1.79),(4.395,1.79),(4.395,2.39),(4.995,2.39),(4.995,2.99),(5.595,2.99),(5.595,3.59),(6.185,3.59),(6.185,4.19),(6.785,4.19),(6.785,4.78),(7.385,4.78),(7.385,5.98),(7.985,5.98),(7.985,7.24),(8.865,7.24),(8.865,10.36),(8.465,10.36),(8.465,11.16),(8.065,11.16),(8.065,11.56),(7.265,11.56),(7.265,11.95),(5.195,11.95),(5.195,11.56),(3.995,11.56),(3.995,11.16),(3.595,11.16),(3.595,10.76),(2.605,10.76),(2.605,12.15),(3.005,12.15),(3.005,12.55),(3.795,12.55),(3.795,12.95),(8.715,12.95),(8.715,12.55),(9.505,12.55),(9.505,12.15),(9.905,12.15),(9.905,11.36),(10.305,11.36),(10.305,10.56),(10.705,10.56),(10.705,7.63),(9.835,7.63),(9.835,6.58),(9.175,6.58),(9.175,5.38),(8.575,5.38),(8.575,4.19),(7.985,4.19),(7.985,3.59),(7.385,3.59),(7.385,2.99),(6.785,2.99),(6.785,2.39),(6.185,2.39),(6.185,1.79),(9.875,1.79),(9.875,2.39),(11.065,2.39),(11.065,1.2),(10.475,1.2),(10.475,0.6),(9.875,0.6),(9.875,0)])
P(char_l2, L50_0, [(2.605,0),(2.605,0.6),(3.205,0.6),(3.205,1.2),(3.795,1.2),(3.795,1.79),(4.395,1.79),(4.395,2.39),(4.995,2.39),(4.995,2.99),(5.595,2.99),(5.595,3.59),(6.185,3.59),(6.185,4.19),(6.785,4.19),(6.785,4.78),(7.385,4.78),(7.385,5.98),(7.985,5.98),(7.985,7.24),(8.865,7.24),(8.865,10.36),(8.465,10.36),(8.465,11.16),(8.065,11.16),(8.065,11.56),(7.265,11.56),(7.265,11.95),(5.195,11.95),(5.195,11.56),(3.995,11.56),(3.995,11.16),(3.595,11.16),(3.595,10.76),(2.605,10.76),(2.605,12.15),(3.005,12.15),(3.005,12.55),(3.795,12.55),(3.795,12.95),(8.715,12.95),(8.715,12.55),(9.505,12.55),(9.505,12.15),(9.905,12.15),(9.905,11.36),(10.305,11.36),(10.305,10.56),(10.705,10.56),(10.705,7.63),(9.835,7.63),(9.835,6.58),(9.175,6.58),(9.175,5.38),(8.575,5.38),(8.575,4.19),(7.985,4.19),(7.985,3.59),(7.385,3.59),(7.385,2.99),(6.785,2.99),(6.785,2.39),(6.185,2.39),(6.185,1.79),(9.875,1.79),(9.875,2.39),(11.065,2.39),(11.065,1.2),(10.475,1.2),(10.475,0.6),(9.875,0.6),(9.875,0)])

sn_cs233_s = lib.new_cell('SN_CS233_S')
R(sn_cs233_s, L9_35, [(0,0,126.57,13.03)])
R(sn_cs233_s, L77_65, [(0,0,126.57,13.03)])
R(sn_cs233_s, L80_30, [(0,0,126.57,13.03)])
R(sn_cs233_s, L81_0, [(0,0,126.57,13.03)])
sn_cs233_s.add(gdstk.Reference(char_l0, (36.02,0)))
sn_cs233_s.add(gdstk.Reference(char_ls, (24.92,0)))
sn_cs233_s.add(gdstk.Reference(char_lc, (-2.075,0)))
sn_cs233_s.add(gdstk.Reference(char_l3, (70,0)))
sn_cs233_s.add(gdstk.Reference(char_l3, (58.22,0)))
sn_cs233_s.add(gdstk.Reference(char_l2, (12.12,0)))
sn_cs233_s.add(gdstk.Reference(char_l2, (47.12,0)))

c2s0233_s = lib.new_cell('C2S0233_S')
c2s0233_s.add(gdstk.Reference(scl18sl_pci_pm_nomf_a2, (1.995,-9.171)))
c2s0233_s.add(gdstk.Reference(sn_cs233_s, (52.3,1.07)))

lib.write_gds('C2S0233_S.gds')
